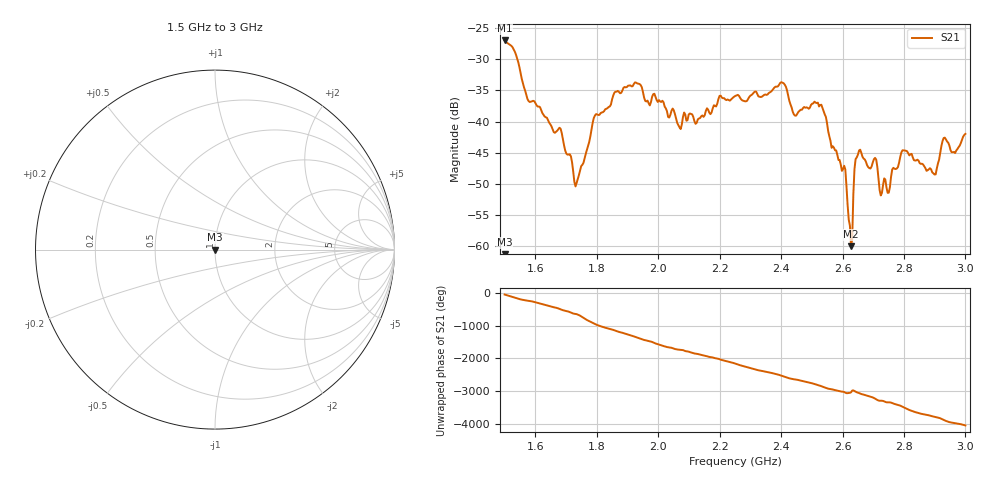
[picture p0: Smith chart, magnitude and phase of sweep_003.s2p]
# HZ S RI R 50
! BoneWave AI live acquisition
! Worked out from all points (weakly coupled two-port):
!   404 points, 1.5 GHz to 3 GHz, reference 50 ohm
!   highest |S21| = -26.97 dB at 1.5 GHz (marker M1); lowest = -60.0 dB at 2.628 GHz (marker M2)
!   lowest |S11| = - dB at 1.5 GHz (marker M3), VSWR 1.00, Z = 50 + j0 ohm
!   |S11| at or under -10 dB: start of sweep to end of sweep
!   S12 and S22 are empty: the file has one direction only
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1.5e9  0 0  0.0273 -0.0356  0 0  0 0
1.578164e9  0 0  -0.00653 0.0131  0 0  0 0
1.682382e9  0 0  -0.00716 -0.00504  0 0  0 0
1.730769e9  0 0  0.000734 0.00293  0 0  0 0
1.753102e9  0 0  0.00407 -0.00191  0 0  0 0
1.794045e9  0 0  -0.00692 0.00879  0 0  0 0
1.861042e9  0 0  0.00358 -0.017  0 0  0 0
2.002481e9  0 0  -0.0112 -0.00979  0 0  0 0
2.069479e9  0 0  0.00439 0.00783  0 0  0 0
2.251861e9  0 0  0.016 -0.00147  0 0  0 0
2.404467e9  0 0  0.0191 -0.00756  0 0  0 0
2.445409e9  0 0  -0.00654 -0.00905  0 0  0 0
2.501241e9  0 0  -0.00589 0.0126  0 0  0 0
2.601737e9  0 0  -0.00322 -0.00263  0 0  0 0
2.627792e9  0 0  -0.000935 -0.000351  0 0  0 0
2.64268e9  0 0  -0.00393 -0.0031  0 0  0 0
2.653846e9  0 0  -0.00585 0.000245  0 0  0 0
2.75062e9  0 0  -0.000784 -0.00257  0 0  0 0
2.799007e9  0 0  -0.00101 0.00579  0 0  0 0
2.899504e9  0 0  -0.00372 0.000538  0 0  0 0
2.92928e9  0 0  0.00152 0.00722  0 0  0 0
3e9  0 0  -0.000307 -0.00796  0 0  0 0
